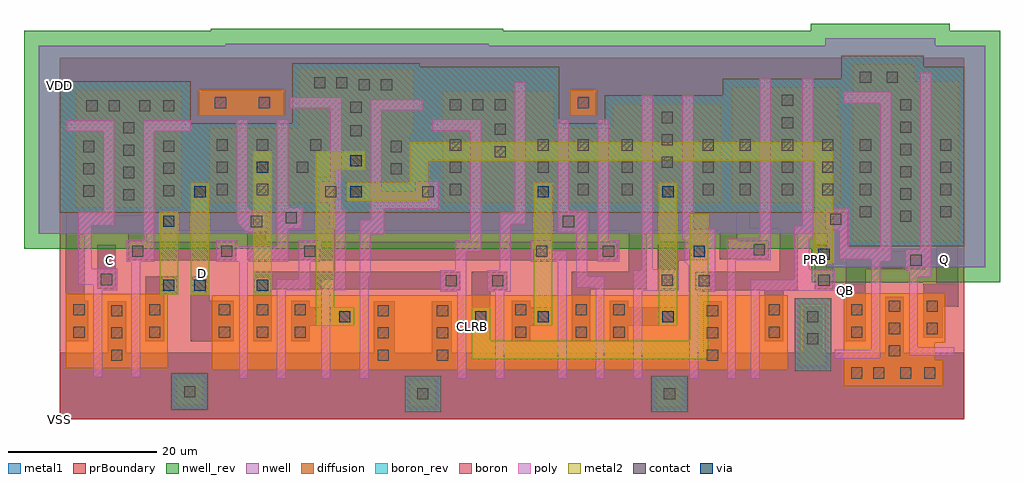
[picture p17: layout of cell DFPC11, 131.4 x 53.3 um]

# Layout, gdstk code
import gdstk
lib = gdstk.Library(unit=1e-6, precision=1e-09)
def R(c, l, rs):  # rectangles x0, y0, x1, y1
    for r in rs: c.add(gdstk.rectangle(r[:2], r[2:], *l))
def A(c, l, x, y, w, h, nx, ny, dx, dy):  # array of equal rectangles
    R(c, l, [(x+i*dx, y+j*dy, x+i*dx+w, y+j*dy+h) for i in range(nx) for j in range(ny)])
def P(c, l, *ps):  # polygons
    for p in ps: c.add(gdstk.Polygon(p, *l))
nwell = (1, 0)
diffusion = (2, 0)
nwell_rev = (3, 0)
poly = (4, 0)
boron = (5, 0)
boron_rev = (6, 0)
contact = (7, 0)
metal1 = (8, 0)
via = (9, 0)
metal2 = (10, 0)
prBoundary = (28, 0)

dfpc11 = lib.new_cell('DFPC11')
P(dfpc11, nwell, [(103.25,20.5),(103.25,25),(-2.8,25),(-2.8,50.3),(22.35,50.3),(22.35,50.6),(57.75,50.6),(57.75,50.3),(103.1,50.3),(103.1,51.3),(117.85,51.3),(117.85,50.3),(124.6,50.3),(124.6,20.5)])
R(dfpc11, diffusion, [(47.15,1.7,50.65,5.2), (80.35,1.7,83.85,5.2), (15.75,2,19.25,5.5), (20.45,6.7,98.05,16.7), (0.85,6.9,14.55,16.9), (99.65,7.2,103.15,15.6), (2.15,28.5,16.45,44.25), (18.7,40.9,30.25,44.4), (68.75,40.9,72.25,44.4)])
P(dfpc11, diffusion, [(106.75,24),(106.75,47.8),(115.05,47.8),(115.05,45.5),(121.05,45.5),(121.05,24)],
  [(51.55,29.2),(51.55,44.2),(66.55,44.2),(66.55,39.2),(74.45,39.2),(74.45,42.4),(89.05,42.4),(89.05,29.2)],
  [(20.15,29.2),(20.15,39.2),(32.2,39.2),(32.2,47.1),(47.65,47.1),(47.65,38.55),(47.15,38.55),(47.15,31.9),(38.55,31.9),(38.55,32.6),(34.55,32.6),(34.55,29.2)],
  [(105.55,4.5),(105.55,17),(119.25,17),(119.25,10.35),(117.8,10.35),(117.8,8.05),(118.9,8.05),(118.9,4.5)],
  [(90.55,29.2),(90.55,44.7),(104.85,44.7),(104.85,40.7),(105.15,40.7),(105.15,29.2)])
P(dfpc11, nwell_rev, [(101.25,18.5),(101.25,23),(-4.8,23),(-4.8,52.3),(20.35,52.3),(20.35,52.6),(59.75,52.6),(59.75,52.3),(101.1,52.3),(101.1,53.3),(119.85,53.3),(119.85,52.3),(126.6,52.3),(126.6,18.5)])
R(dfpc11, poly, [(0.95,38.8,5.85,40.3), (12.75,38.8,17.65,40.3)])
P(dfpc11, poly, [(114.35,8.55),(114.35,20),(113.85,20),(113.85,22.9),(115.85,22.9),(115.85,46.7),(117.35,46.7),(117.35,19.15),(115.55,19.15),(115.55,9.75),(120.45,9.75),(120.45,8.55)],
  [(104.35,8.2),(104.35,9.4),(109.25,9.4),(109.25,21.6),(104.95,21.6),(104.95,25.5),(103.05,25.5),(103.05,28.4),(106.25,28.4),(106.25,23.1),(110.45,23.1),(110.45,42.6),(105.55,42.6),(105.55,44.1),(111.95,44.1),(111.95,21.2),(110.45,21.2),(110.45,8.2)],
  [(93.05,5.5),(93.05,18.8),(98.9,18.8),(98.9,26.1),(99.95,26.1),(99.95,45.9),(101.45,45.9),(101.45,24.4),(100.95,24.4),(100.95,20.2),(104.35,20.2),(104.35,17.3),(94.25,17.3),(94.25,5.5)],
  [(89.85,5.5),(89.85,24.3),(94.25,24.3),(94.25,45.9),(95.75,45.9),(95.75,21.4),(91.05,21.4),(91.05,5.5)],
  [(84.75,5.5),(84.75,17.2),(84.7,17.2),(84.7,20.7),(84.25,21.15),(84.15,21.15),(84.15,24.2),(83.85,24.2),(83.85,43.6),(85.35,43.6),(85.35,25.7),(88.25,25.7),(88.25,17.2),(85.95,17.2),(85.95,5.5)],
  [(77.25,5.5),(77.25,20.1),(78.35,20.1),(78.35,43.6),(79.85,43.6),(79.85,20.2),(83.25,20.2),(83.25,17.3),(78.45,17.3),(78.45,5.5)],
  [(72.45,21.2),(72.45,40.4),(73.95,40.4),(73.95,24.1),(75.35,24.1),(75.35,21.2)],
  [(72.15,5.5),(72.15,17.7),(71.05,17.7),(71.05,17.75),(69.55,17.75),(69.55,25.2),(67.05,25.2),(67.05,40.4),(68.55,40.4),(68.55,28.1),(71.05,28.1),(71.05,19.25),(73.35,19.25),(73.35,5.5)],
  [(67.05,5.5),(67.05,21.2),(63.45,21.2),(63.45,24.1),(66.35,24.1),(66.35,22.7),(68.25,22.7),(68.25,5.5)],
  [(58.65,5.5),(58.65,17.2),(57.55,17.2),(57.55,20.1),(59.25,20.1),(59.25,27.8),(61.25,27.8),(61.25,45.4),(62.75,45.4),(62.75,26.3),(60.75,26.3),(60.75,17.2),(59.85,17.2),(59.85,5.5)],
  [(53.55,5.5),(53.55,17.2),(51.25,17.2),(51.25,20.1),(53.25,20.1),(53.25,24.1),(55.25,24.1),(55.25,38.9),(50.15,38.9),(50.15,40.4),(56.75,40.4),(56.75,22.6),(54.75,22.6),(54.75,5.5)],
  [(29.25,5.5),(29.25,18.85),(32.2,18.85),(32.2,24.1),(35.1,24.1),(35.1,21.2),(33.75,21.2),(33.75,17.4),(30.45,17.4),(30.45,5.5)],
  [(24.15,5.5),(24.15,21.2),(21.05,21.2),(21.05,24.1),(23.95,24.1),(23.95,23.3),(29.25,23.3),(29.25,40.4),(30.75,40.4),(30.75,28.6),(32.65,28.6),(32.65,25.7),(30.75,25.7),(30.75,21.2),(25.35,21.2),(25.35,5.5)],
  [(9.65,5.7),(9.65,21.2),(9.05,21.2),(9.05,24.1),(11.25,24.1),(11.25,40.3),(12.75,40.3),(12.75,21.2),(10.85,21.2),(10.85,5.7)],
  [(40.4,5.5),(40.4,26.9),(41.85,26.9),(41.85,43.1),(48.85,43.1),(48.85,41.6),(43.35,41.6),(43.35,30.7),(47.9,30.7),(47.9,32.1),(51.05,32.1),(51.05,28.4),(43.7,28.4),(43.7,24.95),(41.85,24.95),(41.85,19.2),(41.6,19.2),(41.6,5.5)],
  [(35.25,5.5),(35.25,18.9),(37.05,18.9),(37.05,25.7),(36.3,25.7),(36.3,29.2),(35.05,29.2),(35.05,32.1),(36.45,32.1),(36.45,41.9),(31,41.9),(31,43.4),(37.95,43.4),(37.95,28.25),(38.55,28.25),(38.55,17.4),(36.45,17.4),(36.45,5.5)],
  [(4.55,5.7),(4.55,18.15),(2.5,18.15),(2.5,28),(5.85,28),(5.85,40.3),(7.35,40.3),(7.35,26.1),(4.35,26.1),(4.35,20.3),(7.75,20.3),(7.75,17.4),(5.75,17.4),(5.75,5.7)],
  [(25.05,25.2),(25.05,25.35),(23.85,26.55),(23.85,40.4),(25.35,40.4),(25.35,28.65),(25.9,28.1),(27.95,28.1),(27.95,25.2)])
R(dfpc11, boron, [(46.45,1,51.35,5.9), (79.65,1,84.55,5.9), (15.05,1.3,19.95,6.2), (98.95,6.5,103.85,16.3)])
P(dfpc11, boron, [(106.05,23.3),(106.05,27.8),(0,27.8),(0,45.5),(17.65,45.5),(17.65,39.9),(31.3,39.9),(31.3,47.95),(48.5,47.95),(48.5,47.5),(67.25,47.5),(67.25,39.9),(73.4,39.9),(73.4,43.65),(89.3,43.65),(89.3,45.85),(105.2,45.85),(105.2,48.95),(116.35,48.95),(116.35,47.5),(121.8,47.5),(121.8,23.3)])
R(dfpc11, boron_rev, [(46.45,1,51.35,5.9), (79.65,1,84.55,5.9), (15.05,1.3,19.95,6.2), (98.95,6.5,103.85,16.3)])
P(dfpc11, boron_rev, [(106.05,23.3),(106.05,27.8),(0,27.8),(0,45.5),(17.65,45.5),(17.65,39.9),(31.3,39.9),(31.3,47.95),(48.5,47.95),(48.5,47.5),(67.25,47.5),(67.25,39.9),(73.4,39.9),(73.4,43.65),(89.3,43.65),(89.3,45.85),(105.2,45.85),(105.2,48.95),(116.35,48.95),(116.35,47.5),(121.8,47.5),(121.8,23.3)])
A(dfpc11, contact, 6.95, 7.9, 1.5, 1.5, 1, 3, 0, 3)
A(dfpc11, contact, 42.8, 7.9, 1.5, 1.5, 1, 3, 0, 3)
A(dfpc11, contact, 50.8, 7.9, 1.5, 1.5, 1, 3, 0, 3)
A(dfpc11, contact, 87.15, 7.9, 1.5, 1.5, 1, 3, 0, 3)
A(dfpc11, contact, 111.65, 8.5, 1.5, 1.5, 1, 3, 0, 3)
A(dfpc11, contact, 21.45, 11, 1.5, 1.5, 3, 2, 5.1, 3)
A(dfpc11, contact, 113.15, 26.6, 1.5, 1.5, 1, 6, 0, 3)
A(dfpc11, contact, 107.75, 27.2, 1.5, 1.5, 1, 4, 0, 3)
A(dfpc11, contact, 118.55, 27.2, 1.5, 1.5, 1, 4, 0, 3)
A(dfpc11, contact, 8.55, 29.5, 1.5, 1.5, 1, 4, 0, 3)
A(dfpc11, contact, 3.15, 30, 1.5, 1.5, 1, 3, 0, 3)
A(dfpc11, contact, 13.95, 30.05, 1.5, 1.5, 1, 3, 0, 3)
A(dfpc11, contact, 21.15, 30.2, 1.5, 1.5, 1, 3, 0, 3)
A(dfpc11, contact, 52.55, 30.2, 1.5, 1.5, 1, 3, 0, 3)
A(dfpc11, contact, 69.75, 30.2, 1.5, 1.5, 1, 3, 0, 3)
A(dfpc11, contact, 75.65, 30.2, 1.5, 1.5, 1, 3, 0, 3)
A(dfpc11, contact, 86.55, 30.2, 1.5, 1.5, 1, 3, 0, 3)
A(dfpc11, contact, 91.55, 30.2, 1.5, 1.5, 1, 3, 0, 3)
A(dfpc11, contact, 97.25, 30.2, 1.5, 1.5, 1, 5, 0, 3)
A(dfpc11, contact, 102.65, 30.2, 1.5, 1.5, 1, 3, 0, 3)
A(dfpc11, contact, 81.05, 33.9, 1.5, 1.5, 1, 3, 0, 3)
A(dfpc11, contact, 52.55, 41.6, 1.5, 1.5, 3, 1, 3, 0)
R(dfpc11, contact, [(48.15,2.7,49.65,4.2), (81.35,2.7,82.85,4.2), (16.75,3,18.25,4.5), (106.55,5.5,108.05,7), (109.55,5.5,111.05,7), (113.15,5.5,114.65,7), (116.4,5.5,117.9,7), (100.65,10.1,102.15,11.6), (1.85,11,3.35,12.5), (12.05,11,13.55,12.5), (61.35,11,62.85,12.5), (69.45,11,70.95,12.5), (74.55,11,76.05,12.5), (95.45,11,96.95,12.5), (106.55,11,108.05,12.5), (116.75,11.5,118.25,13), (100.65,13.1,102.15,14.6), (1.85,14,3.35,15.5), (12.05,14,13.55,15.5), (61.35,14,62.85,15.5), (69.45,14,70.95,15.5), (74.55,14,76.05,15.5), (95.45,14,96.95,15.5), (106.55,14,108.05,15.5), (116.75,14.5,118.25,16), (51.95,17.9,53.45,19.4), (58.25,17.9,59.75,19.4), (86.05,17.9,87.55,19.4), (81.05,18,82.55,19.5), (102.15,18,103.65,19.5), (5.55,18.1,7.05,19.6), (114.55,20.7,116.05,22.2), (9.75,21.9,11.25,23.4), (21.75,21.9,23.25,23.4), (32.9,21.9,34.4,23.4), (64.15,21.9,65.65,23.4), (73.15,21.9,74.65,23.4), (93.45,22.1,94.95,23.6), (25.75,25.9,27.25,27.4), (67.75,25.9,69.25,27.4), (103.75,26.2,105.25,27.7), (30.45,26.4,31.95,27.9), (35.75,29.9,37.25,31.4), (48.85,29.9,50.35,31.4), (26.55,30.2,28.05,31.7), (44.55,33,46.05,34.5), (31.95,33.2,33.45,34.7), (64.35,33.2,65.85,34.7), (58.55,35.3,60.05,36.8), (44.55,36,46.05,37.5), (26.55,36.2,28.05,37.7), (33.75,36.2,35.25,37.7), (64.35,36.2,65.85,37.7), (39.15,38.1,40.65,39.6), (58.55,38.3,60.05,39.8), (39.15,41.3,40.65,42.8), (3.6,41.5,5.1,43), (6.6,41.5,8.1,43), (10.7,41.5,12.2,43), (13.95,41.5,15.45,43), (20.9,41.9,22.4,43.4), (26.8,41.9,28.3,43.4), (69.75,41.9,71.25,43.4), (40.25,44.3,41.75,45.8), (43.25,44.3,44.75,45.8), (34.25,44.6,35.75,46.1), (37.25,44.6,38.75,46.1), (107.75,45.3,109.25,46.8), (111.35,45.3,112.85,46.8)])
R(dfpc11, metal1, [(0,0,121.8,9), (101.65,17.5,104.15,23.5), (5.05,17.6,7.55,23.5), (118.45,21,120.95,23.5), (26.05,29.4,28.55,38.2), (35.25,29.4,41.15,31.9), (0,39.7,121.8,48.7)])
P(dfpc11, metal1, [(31.15,10.5),(31.15,16),(33.65,16),(33.65,15.1),(39.65,15.1),(39.65,12.6),(33.65,12.6),(33.65,10.5)],
  [(74.05,10.5),(74.05,16),(76.55,16),(76.55,15.1),(83.15,15.1),(83.15,12.6),(76.55,12.6),(76.55,10.5)],
  [(60.85,10.5),(60.85,16),(63.35,16),(63.35,15.1),(66.35,15.1),(66.35,12.6),(63.35,12.6),(63.35,10.5)],
  [(0,0),(0,9),(6.45,9),(6.45,15.9),(8.95,15.9),(8.95,9),(42.3,9),(42.3,15.9),(45.1,15.9),(45.1,9),(50.1,9),(50.1,15.9),(52.8,15.9),(52.8,9),(86.65,9),(86.65,15.9),(89.15,15.9),(89.15,9),(100.15,9),(100.15,15.2),(102.65,15.2),(102.65,9),(111.15,9),(111.15,16.5),(113.65,16.5),(113.65,9),(121.8,9),(121.8,0)],
  [(29.95,25.4),(29.95,28.4),(32.65,28.4),(32.65,27.9),(69.75,27.9),(69.75,25.4)],
  [(112.65,26.1),(112.65,39.7),(99.25,39.7),(99.25,29.7),(96.75,29.7),(96.75,39.7),(83.05,39.7),(83.05,33.4),(80.55,33.4),(80.55,39.7),(60.55,39.7),(60.55,34.8),(58.05,34.8),(58.05,39.7),(41.15,39.7),(41.15,37.6),(38.65,37.6),(38.65,39.7),(10.55,39.7),(10.55,29),(8.05,29),(8.05,39.7),(0,39.7),(0,48.7),(121.8,48.7),(121.8,39.7),(115.15,39.7),(115.15,26.1)],
  [(116.25,11),(116.25,18.3),(118.05,18.3),(118.05,38.2),(120.95,38.2),(120.95,15.2),(118.9,15.2),(118.9,11)],
  [(105.85,10.5),(105.85,23.6),(107.25,23.6),(107.25,38.2),(109.75,38.2),(109.75,22.7),(116.55,22.7),(116.55,20.2),(108.55,20.2),(108.55,10.5)],
  [(94.95,10.5),(94.95,17.4),(85.55,17.4),(85.55,19.9),(96.95,19.9),(96.95,25.7),(92.85,25.7),(92.85,29.4),(91.05,29.4),(91.05,38.2),(95.25,38.2),(95.25,28.2),(102.05,28.2),(102.05,38.2),(105.75,38.2),(105.75,25.7),(99.35,25.7),(99.35,17.4),(97.45,17.4),(97.45,10.5)],
  [(68.95,10.5),(68.95,19.9),(76.65,19.9),(76.65,25.4),(71.25,25.4),(71.25,29.7),(69.25,29.7),(69.25,38.2),(73.65,38.2),(73.65,27.9),(91.25,27.9),(91.25,24.1),(95.45,24.1),(95.45,21.6),(88.85,21.6),(88.85,25.4),(79.05,25.4),(79.05,17.5),(71.45,17.5),(71.45,10.5)],
  [(75.15,29.4),(75.15,38.2),(77.65,38.2),(77.65,31.9),(86.05,31.9),(86.05,38.2),(88.55,38.2),(88.55,29.4)],
  [(80.55,17.5),(80.55,23.5),(80.65,23.5),(80.65,23.9),(87.35,23.9),(87.35,21.4),(83.35,21.4),(83.35,17.5)],
  [(25.25,21.4),(25.25,25.4),(13.45,25.4),(13.45,38.2),(15.95,38.2),(15.95,27.9),(27.75,27.9),(27.75,23.9),(75.15,23.9),(75.15,21.4)],
  [(48.35,29.4),(48.35,31.9),(52.05,31.9),(52.05,38.2),(54.55,38.2),(54.55,31.9),(63.85,31.9),(63.85,38.2),(66.35,38.2),(66.35,29.4)],
  [(55.45,12.6),(55.45,19.9),(60.25,19.9),(60.25,17.4),(57.95,17.4),(57.95,12.6)],
  [(26.05,10.5),(26.05,19.9),(53.95,19.9),(53.95,17.4),(51.45,17.4),(51.45,17.5),(28.55,17.5),(28.55,10.5)],
  [(44.05,32.5),(44.05,33.6),(33.95,33.6),(33.95,32.7),(31.45,32.7),(31.45,38.2),(35.75,38.2),(35.75,36.1),(44.05,36.1),(44.05,38.2),(46.55,38.2),(46.55,32.5)],
  [(0.85,10.5),(0.85,29.7),(2.65,29.7),(2.65,38.2),(5.15,38.2),(5.15,27.5),(11.75,27.5),(11.75,23.9),(23.75,23.9),(23.75,21.4),(9.25,21.4),(9.25,25),(3.35,25),(3.35,16),(3.85,16),(3.85,10.5)],
  [(17.65,10.5),(17.65,19.3),(20.15,19.3),(20.15,16),(23.45,16),(23.45,10.5)],
  [(17.65,29.4),(17.65,31.9),(20.65,31.9),(20.65,38.2),(23.15,38.2),(23.15,29.4)],
  [(11.55,10.5),(11.55,19.3),(15.95,19.3),(15.95,16.8),(14.05,16.8),(14.05,10.5)])
R(dfpc11, via, [(37.65,13.1,39.15,14.6), (55.95,13.1,57.45,14.6), (64.35,13.1,65.85,14.6), (81.15,13.1,82.65,14.6), (13.95,17.3,15.45,18.8), (18.15,17.3,19.65,18.8), (26.55,17.3,28.05,18.8), (102.15,21.5,103.65,23), (85.35,21.9,86.85,23.4), (13.95,25.95,15.45,27.45), (18.15,29.9,19.65,31.4), (39.15,29.9,40.65,31.4), (64.35,29.9,65.85,31.4), (81.15,29.9,82.65,31.4), (26.55,33.2,28.05,34.7), (39.15,34.1,40.65,35.6)])
R(dfpc11, metal2, [(63.85,12.6,66.35,31.9), (80.65,12.6,83.15,31.9), (13.45,16.8,15.95,27.95), (17.65,16.8,20.15,31.9), (26.05,16.8,28.55,36.1)])
P(dfpc11, metal2, [(101.65,21),(101.65,34.83),(49.653,34.83),(49.653,29.4),(38.65,29.4),(38.65,31.9),(47.153,31.9),(47.153,37.33),(49.641,37.33),(104.15,37.33),(104.15,21)],
  [(55.45,8.097),(55.45,15.1),(57.95,15.1),(57.95,10.597),(84.85,10.597),(84.85,27.7),(87.35,27.7),(87.35,8.097)],
  [(34.45,12.6),(34.45,36.1),(41.15,36.1),(41.15,33.6),(36.95,33.6),(36.95,15.1),(39.65,15.1),(39.65,12.6)])
R(dfpc11, prBoundary, [(0,0,121.8,48.7)])
dfpc11.add(gdstk.Label('VSS', (0.001,0.001), layer=8, texttype=7))
dfpc11.add(gdstk.Label('VDD', (0.002,45), layer=8, texttype=7))
dfpc11.add(gdstk.Label('PRB', (101.82,21.515), layer=8, texttype=7))
dfpc11.add(gdstk.Label('C', (6.69,21.335), layer=8, texttype=7))
dfpc11.add(gdstk.Label('QB', (105.85,17.35), layer=8, texttype=7))
dfpc11.add(gdstk.Label('Q', (119.15,21.5), layer=8, texttype=7))
dfpc11.add(gdstk.Label('D', (19.205,19.595), layer=10, texttype=7))
dfpc11.add(gdstk.Label('CLRB', (55.55,12.5), layer=10, texttype=7))
dfpc11.add(gdstk.Label('CLRB', (55.55,12.5), layer=10, texttype=7))

lib.write_gds('DFPC11.gds')
